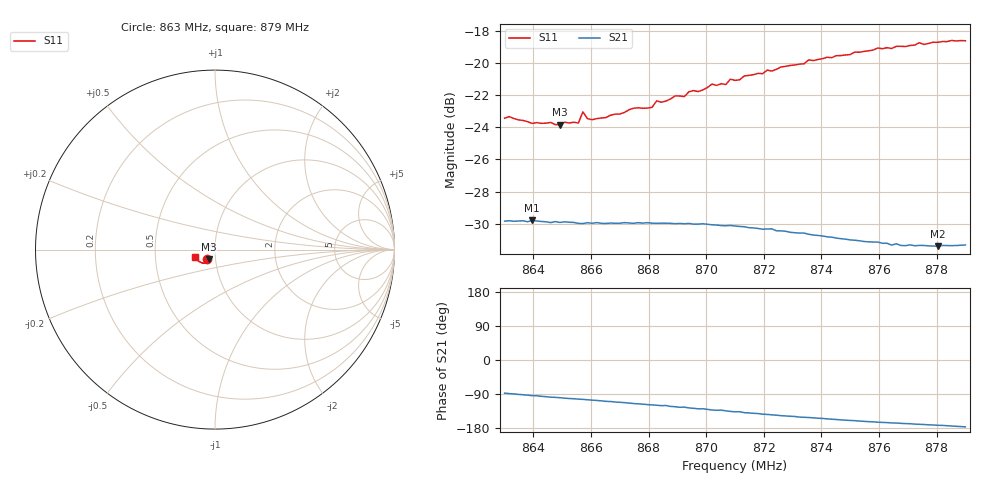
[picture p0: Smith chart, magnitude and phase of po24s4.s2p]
# HZ S RI R 50
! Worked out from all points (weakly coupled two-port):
!   101 points, 863 MHz to 879 MHz, reference 50 ohm
!   highest |S21| = -29.79 dB at 863.96 MHz (marker M1); lowest = -31.4 dB at 878.04 MHz (marker M2)
!   lowest |S11| = -23.8 dB at 864.92 MHz (marker M3), VSWR 1.14, Z = 46.4 - j5.05 ohm
!   |S11| at or under -10 dB: start of sweep to end of sweep
!   S12 and S22 are empty: the file has one direction only
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8.63e8  -0.0421 -0.0526  0.00146 -0.0322  0 0  0 0
8.6396e8  -0.0382 -0.0525  -0.0023 -0.0323  0 0  0 0
8.6492e8  -0.0347 -0.0542  -0.00529 -0.0315  0 0  0 0
8.6556e8  -0.0332 -0.0559  -0.00725 -0.0309  0 0  0 0
8.6572e8  -0.0389 -0.0588  -0.00762 -0.0307  0 0  0 0
8.6588e8  -0.0328 -0.0585  -0.00819 -0.0308  0 0  0 0
8.6604e8  -0.0328 -0.058  -0.00868 -0.0305  0 0  0 0
8.6748e8  -0.0336 -0.064  -0.0134 -0.0288  0 0  0 0
8.6812e8  -0.0341 -0.0643  -0.0152 -0.0279  0 0  0 0
8.6828e8  -0.0364 -0.067  -0.0156 -0.0277  0 0  0 0
8.6844e8  -0.0353 -0.0668  -0.0161 -0.0274  0 0  0 0
8.6892e8  -0.0394 -0.0685  -0.0174 -0.0264  0 0  0 0
8.6924e8  -0.0358 -0.07  -0.0179 -0.0261  0 0  0 0
8.694e8  -0.0395 -0.0712  -0.0188 -0.0255  0 0  0 0
8.6972e8  -0.0393 -0.0714  -0.0198 -0.0246  0 0  0 0
8.702e8  -0.0452 -0.0732  -0.021 -0.0233  0 0  0 0
8.71e8  -0.0472 -0.0747  -0.0227 -0.0214  0 0  0 0
8.7372e8  -0.0688 -0.075  -0.0259 -0.0134  0 0  0 0
8.7596e8  -0.089 -0.0671  -0.0267 -0.00756  0 0  0 0
8.7644e8  -0.0924 -0.0614  -0.0264 -0.00653  0 0  0 0
8.7804e8  -0.1052 -0.0488  -0.0267 -0.00359  0 0  0 0
8.79e8  -0.1108 -0.0384  -0.0271 -0.00172  0 0  0 0
